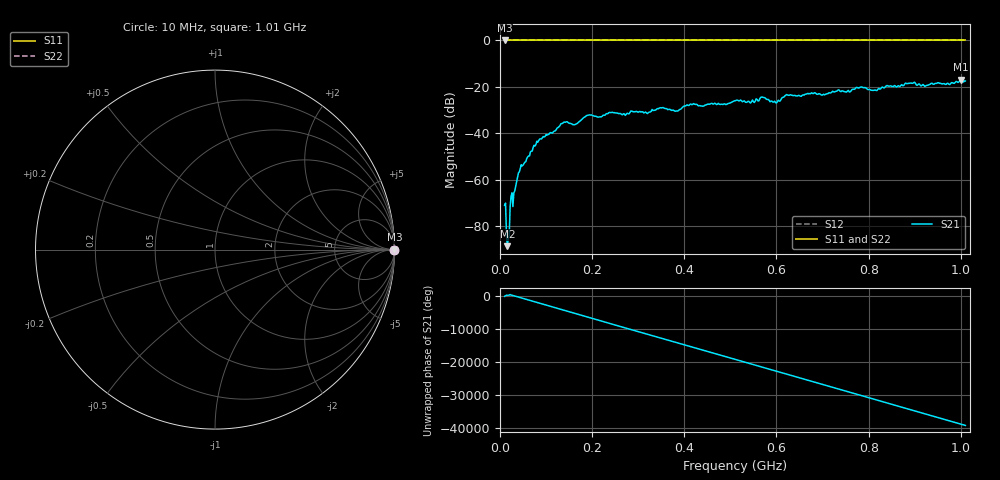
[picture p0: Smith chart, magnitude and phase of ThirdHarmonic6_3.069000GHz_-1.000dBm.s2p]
! 8/17/2025 8:58:02 AM
! C:\ANRITSUVNA\TEMP\TEMP.S2P
! CHANNEL.1
! TR.MEASUREMENT
! RAW.DATA
! RF.CORRECTION.OFF
! AVERAGING.OFF
! IF.BANDWIDTH: 5KHZ
! SWEEPTYPE:  FREQ.SWEEP(Linear)
! Reference Plane Port Info
! PORT:  PORT1  PORT2
! DISTANCE:  0  m  0  m
! TIME:  0  s  0  s
! PHASE.OFFSET:  0  deg.  0  deg.
! LOSS:  0  dB  0  dB
! REF.LOSS:  0  dB  0  dB
! REF.FREQ:  0  Hz  0  Hz
! Power Info
! POWER:  -20  dBm  -20  dBm
! EFF.POWER:  -20  dBm  -20  dBm
! SOURCE.ATTEN:  0  dB  0  dB
! TEST.ATTEN:  0  dB  0  dB
# GHZ S RI R 50.0
! FREQ.GHZ  S11RE  S11IM  S21RE  S21IM  S12RE  S12IM  S22RE  S22IM
!; PortSelection: Port_12
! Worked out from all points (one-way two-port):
!   501 points, 10 MHz to 1.01 GHz, reference 50 ohm
!   highest |S21| = -16.88 dB at 1 GHz (marker M1); lowest = -88.5 dB at 16 MHz (marker M2)
!   lowest |S11| = 0.0 dB at 10 MHz (marker M3)
!   |S11| at or under -10 dB: nowhere
!   |S22| runs from 0.0 to 0.0 dB; largest |S21 - S12| = 1.1
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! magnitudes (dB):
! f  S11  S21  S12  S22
! 10 MHz  0.0  -70.9  0.0  0.0
! 16 MHz  0.0  -88.5  0.0  0.0
! 18 MHz  0.0  -85.0  0.0  0.0
! 26 MHz  0.0  -65.6  0.0  0.0
! 32 MHz  0.0  -64.8  0.0  0.0
! 42 MHz  0.0  -56.5  0.0  0.0
! 76 MHz  0.0  -45.4  0.0  0.0
! 136 MHz  0.0  -35.7  0.0  0.0
! 162 MHz  0.0  -36.2  0.0  0.0
! 178 MHz  0.0  -33.9  0.0  0.0
! 344 MHz  0.0  -29.4  0.0  0.0
! 384 MHz  0.0  -30.4  0.0  0.0
! 416 MHz  0.0  -27.6  0.0  0.0
! 510 MHz  0.0  -25.9  0.0  0.0
! 548 MHz  0.0  -25.6  0.0  0.0
! 570 MHz  0.0  -24.4  0.0  0.0
! 598 MHz  0.0  -26.7  0.0  0.0
! 622 MHz  0.0  -23.3  0.0  0.0
! 678 MHz  0.0  -22.8  0.0  0.0
! 844 MHz  0.0  -19.7  0.0  0.0
! 1 GHz  0.0  -16.9  0.0  0.0
! 1.01 GHz  0.0  -17.4  0.0  0.0
